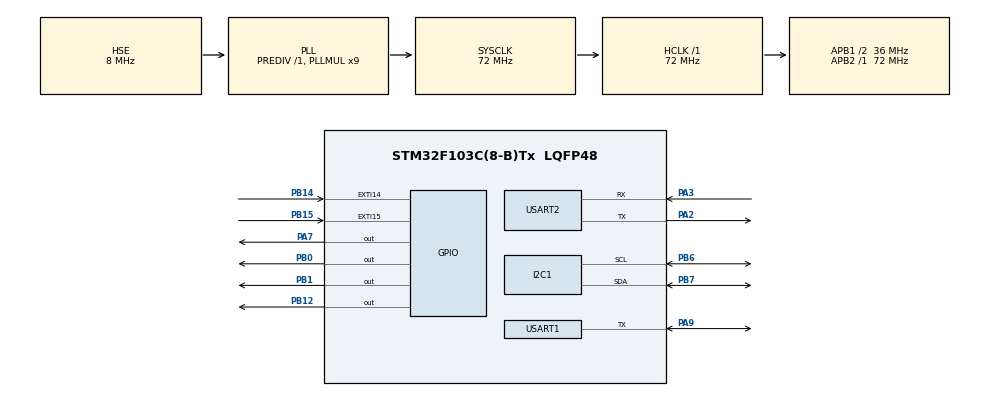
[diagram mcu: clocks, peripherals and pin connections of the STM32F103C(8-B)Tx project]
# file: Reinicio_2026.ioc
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I2C1.I2C_Mode=I2C_Fast
Mcu.Family=STM32F1
Mcu.Name=STM32F103C(8-B)Tx
Mcu.Package=LQFP48
NVIC.EXTI15_10_IRQn=true\:0\:0\:false\:false\:true\:true\:true\:true
NVIC.PriorityGroup=NVIC_PRIORITYGROUP_4
NVIC.USART1_IRQn=true\:0\:0\:false\:false\:true\:true\:true\:true
NVIC.USART2_IRQn=true\:0\:0\:false\:false\:true\:true\:true\:true
PA13.Mode=Serial_Wire
PA13.Signal=SYS_JTMS-SWDIO
PA14.Mode=Serial_Wire
PA14.Signal=SYS_JTCK-SWCLK
PA2.Mode=Asynchronous
PA2.Signal=USART2_TX
PA3.Mode=Asynchronous
PA3.Signal=USART2_RX
PA7.PinState=GPIO_PIN_SET
PA7.Signal=GPIO_Output
PA9.Mode=Half_duplex(single_wire_mode)
PA9.Signal=USART1_TX
PB0.PinState=GPIO_PIN_SET
PB0.Signal=GPIO_Output
PB1.PinState=GPIO_PIN_SET
PB1.Signal=GPIO_Output
PB12.PinState=GPIO_PIN_SET
PB12.Signal=GPIO_Output
PB14.Signal=GPXTI14
PB15.Signal=GPXTI15
PB6.Mode=I2C
PB6.Signal=I2C1_SCL
PB7.Mode=I2C
PB7.Signal=I2C1_SDA
PD0-OSC_IN.Mode=HSE-External-Oscillator
PD0-OSC_IN.Signal=RCC_OSC_IN
PD1-OSC_OUT.Mode=HSE-External-Oscillator
PD1-OSC_OUT.Signal=RCC_OSC_OUT
ProjectManager.HeapSize=0x200
ProjectManager.StackSize=0x400
ProjectManager.TargetToolchain=STM32CubeIDE
RCC.AHBFreq_Value=72000000
RCC.APB1CLKDivider=RCC_HCLK_DIV2
RCC.APB1Freq_Value=36000000
RCC.APB1TimFreq_Value=72000000
RCC.APB2Freq_Value=72000000
RCC.APB2TimFreq_Value=72000000
RCC.HCLKFreq_Value=72000000
RCC.PLLMUL=RCC_PLL_MUL9
RCC.PLLSourceVirtual=RCC_PLLSOURCE_HSE
RCC.SYSCLKFreq_VALUE=72000000
RCC.SYSCLKSource=RCC_SYSCLKSOURCE_PLLCLK
RCC.USBFreq_Value=72000000
USART1.VirtualMode=VM_ASYNC
USART2.VirtualMode=VM_ASYNC
board=custom

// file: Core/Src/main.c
/* USER CODE BEGIN Header */
/**
  ******************************************************************************
  * @file           : main.c
  * @brief          : Main program body
  ******************************************************************************
  * @attention
  *
  * Copyright (c) 2026 STMicroelectronics.
  * All rights reserved.
  *
  * This software is licensed under terms that can be found in the LICENSE file
  * in the root directory of this software component.
  * If no LICENSE file comes with this software, it is provided AS-IS.
  *
  ******************************************************************************
  */
/* USER CODE END Header */
#include "main.h"

/* USER CODE BEGIN Includes */
#include "string.h"
#include "stdio.h"
#include "Servicio_Temperatura_Corporea.h"
#include "Servicio_Display.h"
#include "Funciones_de_Apoyo_intermedio.h"
#include "servicio_ledRGB.h"
#include "Servicio_Wifi_ESP_01.h"
#include "Servicio_NVM.h"
//#include "esp_01_sleep.h" Inavilitado

/* USER CODE END Includes */

I2C_HandleTypeDef hi2c1;

UART_HandleTypeDef huart1;
UART_HandleTypeDef huart2;

/* USER CODE BEGIN PV */

//Aqui van las interrupciones.
volatile uint8_t btn14_event = 0;
volatile uint8_t btn15_event = 0;

static uint32_t last14_ms = 0;
static uint32_t last15_ms = 0;
static const uint32_t DEBOUNCE_MS = 30;

/* USER CODE END PV */

void SystemClock_Config(void);
static void MX_GPIO_Init(void);
static void MX_USART1_UART_Init(void);
static void MX_I2C1_Init(void);
static void MX_USART2_UART_Init(void);

uint8_t Hay_Evento_Botones(void)
{
    return (btn14_event || btn15_event);
}

/* USER CODE BEGIN 0 */
//Variables

//DS18B20 obtencion de temperatura
float temperatura_corporal_canido;
char temperatura_corporal_canido_texto[10];

//NVM Kectura de memoria FLASH
char g_ssid[NVM_SSID_MAX+1] = {0};
char g_pass[NVM_PASS_MAX+1] = {0};
char g_name[NVM_NAME_MAX+1] = {0};

// FLAG= Bandera de Credenciales si/no
uint8_t cred_ok = 0;

// EStados
uint8_t estado_prev = 0;

// Estados de la FSM
typedef enum {
  Q0_MENU = 0,
  Q1_MODO_PASEO,
  Q2_MODO_CASA,
  Q3_MODO_NEW_WIFI,
  Q4_MODO_CONFIG
} estado_t;

estado_t estado = Q0_MENU;

/* USER CODE END 0 */

int main(void)
{

  /* MCU Configuration--------------------------------------------------------*/

  /* Reset of all peripherals, Initializes the Flash interface and the Systick. */
  HAL_Init();

  /* Configure the system clock */
  SystemClock_Config();

  /* Initialize all configured peripherals */
  MX_GPIO_Init();
  MX_USART1_UART_Init();
  MX_I2C1_Init();
  MX_USART2_UART_Init();
  /* USER CODE BEGIN 2 */

  NVM_Creds_t cfg; //Guardado en Flash
  //NVM_EraseAll(); //Esta funcion se uso en estados de prueba para resetear la FLASH

  LED_RGB_Init();  //dejo led apagado hasta modo paseo

  Inicializo_Display();
  SaludoInicial();
  HAL_Delay(2000);

  //INIT
  //Consultar si teiene credenciales Guardas
  if (NVM_LoadCreds(&cfg)) {
      // Confirmación en display
	  strncpy(g_ssid, cfg.ssid, sizeof(g_ssid)-1); g_ssid[sizeof(g_ssid)-1] = '\0';
	  strncpy(g_pass, cfg.pass, sizeof(g_pass)-1); g_pass[sizeof(g_pass)-1] = '\0';
	  strncpy(g_name, cfg.name, sizeof(g_name)-1); g_name[sizeof(g_name)-1] = '\0';

	  Limpio_Display();
      Muestra_texto_Primer_Renglon("Credenciales OK");
      Muestra_texto_Segundo_renglon(cfg.ssid);
      Muestra_texto_Tercer_renglon(cfg.pass);
      HAL_Delay(1800);

      estado = Q0_MENU;

  } else {
      Limpio_Display();
      Muestra_texto_Primer_Renglon("Sin Credenciales");
      Muestra_texto_Segundo_renglon("Ir a config WiFi");
      HAL_Delay(1800);

      // Defino el estado para ir a configuracion del WIFI
      estado = Q3_MODO_NEW_WIFI;
  }
  strncpy(g_name, "Puca", sizeof(g_name)-1);
  Limpio_Display();
  /* USER CODE END 2 */

  /* Infinite loop */
  /* USER CODE BEGIN WHILE */
  while (1)
  {
	  // Entradas A y B (eventos latcheados por EXTI)
	  uint8_t A_prev  = (btn14_event != 0);
	  uint8_t B_prev  = (btn15_event != 0);
	  // Consumimos eventos (así A/B valen 1 solo una vez)
	  btn14_event = 0;
	  btn15_event = 0;

	  switch (estado)
	  {
	  //MENU
	  case Q0_MENU:

	      Limpio_Display();
	      Muestra_texto_Primer_Renglon("MENU");
	      Muestra_texto_Segundo_renglon("A=Paseo  B=Casa");
	      estado_prev=0;
	      //  Si ya hubo click previo, NO espero y me voy al evento
	      if (!A_prev && !B_prev)
	      {
	        uint16_t i;
	        for (i = 0; i < 100; i++) {      // dejar en 700
	          if (btn14_event || btn15_event) break;
	          HAL_Delay(50);
	        }
	      }

	      // Capturo clicks DURANTE la espera
	      uint8_t A_wait = (btn14_event != 0);
	      uint8_t B_wait = (btn15_event != 0);

	      // Consumo lo ocurrido durante la espera
	      btn14_event = 0;
	      btn15_event = 0;

	      // evdento total = evento previo OR evento drante espera
	      uint8_t A = (A_prev || A_wait);
	      uint8_t B = (B_prev || B_wait);

	      if (B)      { estado_prev = 0; estado = Q2_MODO_CASA; }
	      else if (A) { estado_prev = 0; estado = Q1_MODO_PASEO; }
	      else        { estado_prev = 0; estado = Q1_MODO_PASEO; }  // timeout

	      break;

	    //MODO PASEO
	    case Q1_MODO_PASEO:

	    	    if(estado_prev!=1){
	    	    	Limpio_Display();
	    	    	Muestra_texto_Primer_Renglon("Modo Paseo");
	    	    	Wait_New();
	    	    	Limpio_Display();
	    	    }

	    	    estado_prev=1;

	    	    // Si había evento previo, saltar
	    	    if (A_prev) {
	    	        estado = Q2_MODO_CASA;   // tu regla actual
	    	        break;                  // mejor que continue dentro del switch
	    	    }

	    	    // Medición
	    	    temperatura_corporal_canido = Get_Temperatura_Promedio_Canido();
	    	    floatToString(temperatura_corporal_canido, temperatura_corporal_canido_texto, 3);

	    	    uint32_t wait_ms = SPHC_PeriodoMs_SegunTemp(temperatura_corporal_canido);

	    	    // Mostrás textos (si querés) según rango
	    	    if (temperatura_corporal_canido <= 32.0f) {
	    	      Muestra_texto_Primer_Renglon("ESTABLE");
	    	    } else if (temperatura_corporal_canido < 36.0f) {
	    	      Muestra_texto_Primer_Renglon("ALERTA!");
	    	    } else {
	    	      Muestra_texto_Primer_Renglon("PELIGRO");
	    	    }

	    	    Muestra_texto_Segundo_renglon("Temperatura:");
	    	    Muestra_texto_Tercer_renglon(temperatura_corporal_canido_texto);

	    	    btn14_event = 0; btn15_event = 0;
	    	    Espera_Con_Salida(wait_ms, Hay_Evento_Botones);

	    	    A = (btn14_event != 0);
	    	    B = (btn15_event != 0);
	    	    btn14_event = 0; btn15_event = 0;

	    	    if (A) { estado = Q2_MODO_CASA; break; }
	    	    if (B) { estado = Q4_MODO_CONFIG; break; }

	    	    // y seguís en paseo

	    	 break;

	    case Q2_MODO_CASA:

	    	 static uint8_t wifi_sta_ready = 0;
	    	    static uint8_t wifi_need_connect = 1;
	    	    static uint32_t t_last_retry = 0;
	    	    static uint8_t post_fail_count = 0;

	    	    // Mensaje solo al entrar
	    	    if (estado_prev != 2) {
	    	        Limpio_Display();
	    	        Muestra_texto_Primer_Renglon("Modo Casa");

	    	        // Al entrar a CASA, pedimos conexión (por si venís de CONFIG o reset)
	    	        wifi_need_connect = 1;
	    	        wifi_sta_ready = 0;
	    	        post_fail_count = 0;

	    	        Wait_New(); // ojo: si esto bloquea mucho, movelo abajo con salida
	    	    }

	    	    estado_prev = 2;

	    	    // 1) Siempre medimos (prioridad sistema)
	    	    temperatura_corporal_canido = Get_Temperatura_Promedio_Canido();
	    	    floatToString(temperatura_corporal_canido, temperatura_corporal_canido_texto, 3);

	    	    // Salida rápida
	    	    if (A_prev) { estado = Q1_MODO_PASEO; break; }
	    	    if (B_prev) { estado = Q4_MODO_CONFIG; break; }

	    	    // 2) Conectar WiFi SOLO si hace falta, y no todo el tiempo
	    	    if (!wifi_sta_ready) {
	    	        // retry cada 10s (ajustá)
	    	        if (wifi_need_connect || (HAL_GetTick() - t_last_retry) > 10000) {
	    	            t_last_retry = HAL_GetTick();

	    	            Limpio_Display();
	    	            Muestra_texto_Primer_Renglon("WiFi: conectando");
	    	            Muestra_texto_Segundo_renglon("Espere...");

	    	            wifi_sta_ready = Wifi_ESP_UpRed_STA();  // <-- ahora retorna 0/1
	    	            wifi_need_connect = 0;

	    	            // Salida rápida post intento
	    	            if (A_prev) { estado = Q1_MODO_PASEO; break; }
	    	            if (B_prev) { estado = Q4_MODO_CONFIG; break; }
	    	        }

	    	        // Si no hay WiFi, NO intento POST
	    	        Limpio_Display();
	    	        Muestra_texto_Primer_Renglon("Sin WiFi");
	    	        Muestra_texto_Segundo_renglon("Reintento auto");
	    	        Espera_Con_Salida(800, Hay_Evento_Botones);
	    	        break;
	    	    }

	    	    // 3) POST (solo si wifi_sta_ready == 1)
	    	    Limpio_Display();
	    	    Muestra_texto_Primer_Renglon("Enviando POST...");
	    	    Muestra_texto_Segundo_renglon("192.168.100.29");

	    	    if (ESP_HTTP_Post_Item("192.168.100.29", 8000, g_name, temperatura_corporal_canido_texto)) {
	    	        Limpio_Display();
	    	        Muestra_texto_Primer_Renglon("POST OK");
	    	        Muestra_texto_Segundo_renglon(temperatura_corporal_canido_texto); // <-- corregido
	    	        post_fail_count = 0;
	    	    } else {
	    	        Limpio_Display();
	    	        Muestra_texto_Primer_Renglon("POST FAIL");
	    	        Muestra_texto_Segundo_renglon("Reintento...");
	    	        post_fail_count++;

	    	        // si falla 3 veces, forzá reconexión (recuperación simple)
	    	        if (post_fail_count >= 3) {
	    	            wifi_sta_ready = 0;
	    	            wifi_need_connect = 1;
	    	            post_fail_count = 0;
	    	        }
	    	    }

	    	    // 4) Ventana de salida
	    	    btn14_event = 0; btn15_event = 0;
	    	    Espera_Con_Salida(1200, Hay_Evento_Botones);

	    	    A = (btn14_event != 0);
	    	    B = (btn15_event != 0);
	    	    btn14_event = 0; btn15_event = 0;

	    	    if (A) { estado = Q1_MODO_PASEO; break; }
	    	    if (B) { estado = Q4_MODO_CONFIG; break; }

	    	    // Si no hubo botones, seguís en CASA (próximo ciclo repetirá POST según tu diseño)
	    	    break;

	    case Q3_MODO_NEW_WIFI:
	     // LED_RGB_SetColor(LED_RGB_GREEN);
	        if(estado_prev!=3){
	    	    	    	Limpio_Display();
	    	    	    	Muestra_texto_Primer_Renglon("Modo Conf Red");
	    	    	    	Limpio_Display();
	    	    	    	Wait_New();
	    	    	    }
	        estado_prev=3;

	    	Limpio_Display();
	    	    Muestra_texto_Primer_Renglon("Por favor espere...");
	    	    Muestra_texto_Segundo_renglon(".../...");
	    	    HAL_Delay(1000);

	    	    cred_ok = 0;

	    	    Wifi_ESP_UpRed_SoftAP();

	    	    while (cred_ok == 0)
	    	    {
	    	        LED_RGB_SetColor(LED_RGB_MAGENTA);

	    	        Limpio_Display();
	    	        Muestra_texto_Primer_Renglon("MODO - NEW WIFI");
	    	        Muestra_texto_Segundo_renglon("Cargar WiFi en");
	    	        Muestra_texto_Tercer_renglon("192.168.51.1");

	    	        cred_ok = Wifi_ESP_PortalLoop_GetCredentials(
	    	                      g_ssid, sizeof(g_ssid),
	    	                      g_pass, sizeof(g_pass));

	    	        HAL_Delay(50);
	    	    }

	    	    // Nombre fijo por ahora
	    	    strncpy(g_name, "Puh-ra", sizeof(g_name)-1);
	    	    g_name[sizeof(g_name)-1] = '\0';

	    	    NVM_Creds_t cfg_new;
	    	    memset(&cfg_new, 0, sizeof(cfg_new));

	    	    strncpy(cfg_new.ssid, g_ssid, NVM_SSID_MAX-1);
	    	    strncpy(cfg_new.pass, g_pass, NVM_PASS_MAX-1);
	    	    strncpy(cfg_new.name, g_name, NVM_NAME_MAX-1);

	    	    if (cfg_new.ssid[0] == '\0') {
	    	        Limpio_Display();
	    	        Muestra_texto_Primer_Renglon("SSID vacio");
	    	        HAL_Delay(1200);
	    	    } else {
	    	        Limpio_Display();
	    	        Muestra_texto_Primer_Renglon("Guardando FLASH...");
	    	        if (NVM_SaveCreds(&cfg_new)) {
	    	            Limpio_Display();
	    	            Muestra_texto_Primer_Renglon("FLASH OK");
	    	            Muestra_texto_Segundo_renglon(cfg_new.ssid);
	    	            Muestra_texto_Tercer_renglon(cfg_new.ssid);
	    	            HAL_Delay(1200);

	    	            // ya quedan en RAM también
	    	            strncpy(g_ssid, cfg_new.ssid, sizeof(g_ssid)-1); g_ssid[sizeof(g_ssid)-1] = '\0';
	    	            strncpy(g_pass, cfg_new.pass, sizeof(g_pass)-1); g_pass[sizeof(g_pass)-1] = '\0';
	    	            strncpy(g_name, cfg_new.name, sizeof(g_name)-1); g_name[sizeof(g_name)-1] = '\0';

	    	            estado = Q0_MENU;   // salir del modo
	    	        } else {
	    	            Limpio_Display();
	    	            Muestra_texto_Primer_Renglon("ERROR FLASH");
	    	            HAL_Delay(1500);
	    	        }
	    	    }

	    	    break;

	    case Q4_MODO_CONFIG:

	   	      Limpio_Display();
	   	      Muestra_texto_Primer_Renglon("MENU RED");
	   	      Muestra_texto_Segundo_renglon("A=Config  B=Volver");

	   	      //  Si ya hubo click previo, NO espero y me voy al evento
	   	      if (!A_prev && !B_prev)
	   	      {
	   	        uint16_t i;
	   	        for (i = 0; i < 700; i++) {      // 5s (100*50ms)
	   	          if (btn14_event || btn15_event) break;
	   	          HAL_Delay(50);
	   	        }
	   	      }

	   	      // Capturo clicks DURANTE la espera
	   	      A_wait = (btn14_event != 0);
	   	      B_wait = (btn15_event != 0);

	   	      // Consumo lo ocurrido durante la espera
	   	      btn14_event = 0;
	   	      btn15_event = 0;

	   	      // evdento total = evento previo OR evento drante espera
	   	       A = (A_prev || A_wait);
	   	       B = (B_prev || B_wait);

	   	    if (B) {
	   	           // volver al estado previo real
	   	           if (estado_prev == 1) estado = Q1_MODO_PASEO;
	   	           else if (estado_prev == 2) estado = Q2_MODO_CASA;
	   	           else estado = Q0_MENU;
	   	       }
	   	       else if (A) {
	   	           estado = Q3_MODO_NEW_WIFI;
	   	       }
	   	       else {
	   	           // timeout vuelve
	   	           if (estado_prev == 1) estado = Q1_MODO_PASEO;
	   	           else if (estado_prev == 2) estado = Q2_MODO_CASA;
	   	           else estado = Q0_MENU;
	   	       }

	   	      break;

	    	}

    /* USER CODE END WHILE */

  }
}

void SystemClock_Config(void)
{
  RCC_OscInitTypeDef RCC_OscInitStruct = {0};
  RCC_ClkInitTypeDef RCC_ClkInitStruct = {0};

  /** Initializes the RCC Oscillators according to the specified parameters
  * in the RCC_OscInitTypeDef structure.
  */
  RCC_OscInitStruct.OscillatorType = RCC_OSCILLATORTYPE_HSE;
  RCC_OscInitStruct.HSEState = RCC_HSE_ON;
  RCC_OscInitStruct.HSEPredivValue = RCC_HSE_PREDIV_DIV1;
  RCC_OscInitStruct.HSIState = RCC_HSI_ON;
  RCC_OscInitStruct.PLL.PLLState = RCC_PLL_ON;
  RCC_OscInitStruct.PLL.PLLSource = RCC_PLLSOURCE_HSE;
  RCC_OscInitStruct.PLL.PLLMUL = RCC_PLL_MUL9;
  if (HAL_RCC_OscConfig(&RCC_OscInitStruct) != HAL_OK)
  {
    Error_Handler();
  }

  /** Initializes the CPU, AHB and APB buses clocks
  */
  RCC_ClkInitStruct.ClockType = RCC_CLOCKTYPE_HCLK|RCC_CLOCKTYPE_SYSCLK
                              |RCC_CLOCKTYPE_PCLK1|RCC_CLOCKTYPE_PCLK2;
  RCC_ClkInitStruct.SYSCLKSource = RCC_SYSCLKSOURCE_PLLCLK;
  RCC_ClkInitStruct.AHBCLKDivider = RCC_SYSCLK_DIV1;
  RCC_ClkInitStruct.APB1CLKDivider = RCC_HCLK_DIV2;
  RCC_ClkInitStruct.APB2CLKDivider = RCC_HCLK_DIV1;

  if (HAL_RCC_ClockConfig(&RCC_ClkInitStruct, FLASH_LATENCY_2) != HAL_OK)
  {
    Error_Handler();
  }
}

static void MX_I2C1_Init(void)
{

  hi2c1.Instance = I2C1;
  hi2c1.Init.ClockSpeed = 400000;
  hi2c1.Init.DutyCycle = I2C_DUTYCYCLE_2;
  hi2c1.Init.OwnAddress1 = 0;
  hi2c1.Init.AddressingMode = I2C_ADDRESSINGMODE_7BIT;
  hi2c1.Init.DualAddressMode = I2C_DUALADDRESS_DISABLE;
  hi2c1.Init.OwnAddress2 = 0;
  hi2c1.Init.GeneralCallMode = I2C_GENERALCALL_DISABLE;
  hi2c1.Init.NoStretchMode = I2C_NOSTRETCH_DISABLE;
  if (HAL_I2C_Init(&hi2c1) != HAL_OK)
  {
    Error_Handler();
  }

}

static void MX_USART1_UART_Init(void)
{

  huart1.Instance = USART1;
  huart1.Init.BaudRate = 115200;
  huart1.Init.WordLength = UART_WORDLENGTH_8B;
  huart1.Init.StopBits = UART_STOPBITS_1;
  huart1.Init.Parity = UART_PARITY_NONE;
  huart1.Init.Mode = UART_MODE_TX_RX;
  huart1.Init.HwFlowCtl = UART_HWCONTROL_NONE;
  huart1.Init.OverSampling = UART_OVERSAMPLING_16;
  if (HAL_HalfDuplex_Init(&huart1) != HAL_OK)
  {
    Error_Handler();
  }

}

static void MX_USART2_UART_Init(void)
{

  huart2.Instance = USART2;
  huart2.Init.BaudRate = 115200;
  huart2.Init.WordLength = UART_WORDLENGTH_8B;
  huart2.Init.StopBits = UART_STOPBITS_1;
  huart2.Init.Parity = UART_PARITY_NONE;
  huart2.Init.Mode = UART_MODE_TX_RX;
  huart2.Init.HwFlowCtl = UART_HWCONTROL_NONE;
  huart2.Init.OverSampling = UART_OVERSAMPLING_16;
  if (HAL_UART_Init(&huart2) != HAL_OK)
  {
    Error_Handler();
  }

}

static void MX_GPIO_Init(void)
{
  GPIO_InitTypeDef GPIO_InitStruct = {0};

  /* GPIO Ports Clock Enable */
  __HAL_RCC_GPIOD_CLK_ENABLE();
  __HAL_RCC_GPIOA_CLK_ENABLE();
  __HAL_RCC_GPIOB_CLK_ENABLE();

  /*Configure GPIO pin Output Level */
  HAL_GPIO_WritePin(GPIOA, GPIO_PIN_7, GPIO_PIN_SET);

  /*Configure GPIO pin Output Level */
  HAL_GPIO_WritePin(GPIOB, GPIO_PIN_0|GPIO_PIN_1|GPIO_PIN_12, GPIO_PIN_SET);

  /*Configure GPIO pin : PA7 */
  GPIO_InitStruct.Pin = GPIO_PIN_7;
  GPIO_InitStruct.Mode = GPIO_MODE_OUTPUT_PP;
  GPIO_InitStruct.Pull = GPIO_NOPULL;
  GPIO_InitStruct.Speed = GPIO_SPEED_FREQ_LOW;
  HAL_GPIO_Init(GPIOA, &GPIO_InitStruct);

  /*Configure GPIO pins : PB0 PB1 PB12 */
  GPIO_InitStruct.Pin = GPIO_PIN_0|GPIO_PIN_1|GPIO_PIN_12;
  GPIO_InitStruct.Mode = GPIO_MODE_OUTPUT_PP;
  GPIO_InitStruct.Pull = GPIO_NOPULL;
  GPIO_InitStruct.Speed = GPIO_SPEED_FREQ_LOW;
  HAL_GPIO_Init(GPIOB, &GPIO_InitStruct);

  /*Configure GPIO pins : PB14 PB15 */
  GPIO_InitStruct.Pin = GPIO_PIN_14|GPIO_PIN_15;
  GPIO_InitStruct.Mode = GPIO_MODE_IT_RISING;
  GPIO_InitStruct.Pull = GPIO_NOPULL;
  HAL_GPIO_Init(GPIOB, &GPIO_InitStruct);

  /* EXTI interrupt init*/
  HAL_NVIC_SetPriority(EXTI15_10_IRQn, 0, 0);
  HAL_NVIC_EnableIRQ(EXTI15_10_IRQn);

}

/* USER CODE BEGIN 4 */
void HAL_GPIO_EXTI_Callback(uint16_t GPIO_Pin)
{
  uint32_t now = HAL_GetTick();

  if (GPIO_Pin == GPIO_PIN_14) {
    if ((now - last14_ms) > DEBOUNCE_MS) {
      btn14_event = 1;
      last14_ms = now;
    }
  }
  else if (GPIO_Pin == GPIO_PIN_15) {
    if ((now - last15_ms) > DEBOUNCE_MS) {
      btn15_event = 1;
      last15_ms = now;
    }
  }
}
/* USER CODE END 4 */

void Error_Handler(void)
{
  __disable_irq();
  while (1)
  {
  }
}
